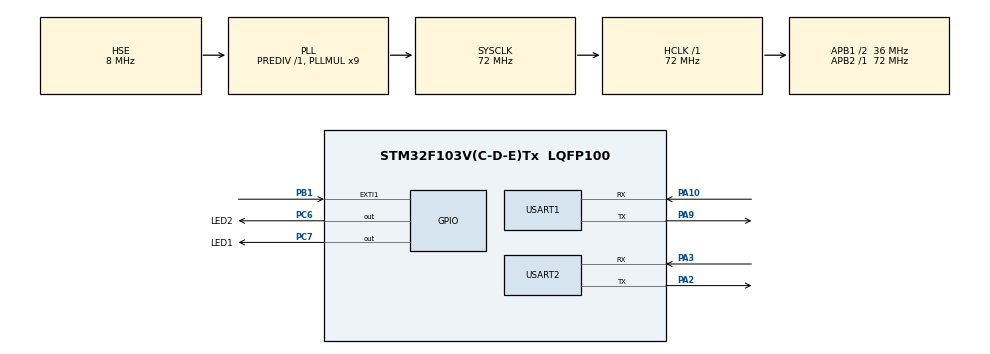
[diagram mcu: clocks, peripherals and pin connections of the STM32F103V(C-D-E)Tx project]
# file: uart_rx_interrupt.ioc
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Mcu.Family=STM32F1
Mcu.Name=STM32F103V(C-D-E)Tx
Mcu.Package=LQFP100
NVIC.EXTI1_IRQn=true\:15\:0\:true\:false\:true\:true
NVIC.PriorityGroup=NVIC_PRIORITYGROUP_4
NVIC.USART2_IRQn=true\:1\:0\:true\:false\:true\:true
OSC_IN.Mode=HSE-External-Oscillator
OSC_IN.Signal=RCC_OSC_IN
OSC_OUT.Mode=HSE-External-Oscillator
OSC_OUT.Signal=RCC_OSC_OUT
PA10.Mode=Asynchronous
PA10.Signal=USART1_RX
PA2.Mode=Asynchronous
PA2.Signal=USART2_TX
PA3.Mode=Asynchronous
PA3.Signal=USART2_RX
PA9.Mode=Asynchronous
PA9.Signal=USART1_TX
PB1.GPIO_ModeDefaultEXTI=GPIO_MODE_IT_RISING
PB1.GPIO_PuPd=GPIO_PULLDOWN
PB1.Signal=GPXTI1
PC6.GPIO_Label=LED2
PC6.Signal=GPIO_Output
PC7.GPIO_Label=LED1
PC7.Signal=GPIO_Output
ProjectManager.HeapSize=0x200
ProjectManager.StackSize=0x400
ProjectManager.TargetToolchain=MDK-ARM V5
RCC.AHBFreq_Value=72000000
RCC.APB1CLKDivider=RCC_HCLK_DIV2
RCC.APB1Freq_Value=36000000
RCC.APB1TimFreq_Value=72000000
RCC.APB2Freq_Value=72000000
RCC.APB2TimFreq_Value=72000000
RCC.HCLKFreq_Value=72000000
RCC.PLLMUL=RCC_PLL_MUL9
RCC.PLLSourceVirtual=RCC_PLLSOURCE_HSE
RCC.SYSCLKFreq_VALUE=72000000
RCC.SYSCLKSource=RCC_SYSCLKSOURCE_PLLCLK
RCC.USBFreq_Value=72000000
USART1.VirtualMode=VM_ASYNC
USART2.VirtualMode=VM_ASYNC
VP_SYS_VS_ND.Mode=No_Debug
board=custom

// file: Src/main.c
/**
  ******************************************************************************
  * @file           : main.c
  * @brief          : Main program body
  ******************************************************************************
  ** This notice applies to any and all portions of this file
  * that are not between comment pairs USER CODE BEGIN and
  * USER CODE END. Other portions of this file, whether
  * inserted by the user or by software development tools
  * are owned by their respective copyright owners.
  *
  * COPYRIGHT(c) 2018 STMicroelectronics
  *
  * Redistribution and use in source and binary forms, with or without modification,
  * are permitted provided that the following conditions are met:
  *   1. Redistributions of source code must retain the above copyright notice,
  *      this list of conditions and the following disclaimer.
  *   2. Redistributions in binary form must reproduce the above copyright notice,
  *      this list of conditions and the following disclaimer in the documentation
  *      and/or other materials provided with the distribution.
  *   3. Neither the name of STMicroelectronics nor the names of its contributors
  *      may be used to endorse or promote products derived from this software
  *      without specific prior written permission.
  *
  * THIS SOFTWARE IS PROVIDED BY THE COPYRIGHT HOLDERS AND CONTRIBUTORS "AS IS"
  * AND ANY EXPRESS OR IMPLIED WARRANTIES, INCLUDING, BUT NOT LIMITED TO, THE
  * IMPLIED WARRANTIES OF MERCHANTABILITY AND FITNESS FOR A PARTICULAR PURPOSE ARE
  * DISCLAIMED. IN NO EVENT SHALL THE COPYRIGHT HOLDER OR CONTRIBUTORS BE LIABLE
  * FOR ANY DIRECT, INDIRECT, INCIDENTAL, SPECIAL, EXEMPLARY, OR CONSEQUENTIAL
  * DAMAGES (INCLUDING, BUT NOT LIMITED TO, PROCUREMENT OF SUBSTITUTE GOODS OR
  * SERVICES; LOSS OF USE, DATA, OR PROFITS; OR BUSINESS INTERRUPTION) HOWEVER
  * CAUSED AND ON ANY THEORY OF LIABILITY, WHETHER IN CONTRACT, STRICT LIABILITY,
  * OR TORT (INCLUDING NEGLIGENCE OR OTHERWISE) ARISING IN ANY WAY OUT OF THE USE
  * OF THIS SOFTWARE, EVEN IF ADVISED OF THE POSSIBILITY OF SUCH DAMAGE.
  *
  ******************************************************************************
  */
#include "main.h"
#include "stm32f1xx_hal.h"
#include "usart.h"
#include "gpio.h"

/* USER CODE BEGIN PV */
/* Private variables ---------------------------------------------------------*/
unsigned char gButtonPressed;
unsigned int gRxCount;
unsigned char gRxBuffer[128];
/* USER CODE END PV */

void SystemClock_Config(void);

/* USER CODE BEGIN PFP */
/* Private function prototypes -----------------------------------------------*/

/* USER CODE END PFP */

int main(void)
{
  /* USER CODE BEGIN 1 */

	uint8_t txData[] = {'s','t','m','3','2','f','1'};
  /* USER CODE END 1 */

  /* MCU Configuration----------------------------------------------------------*/

  /* Reset of all peripherals, Initializes the Flash interface and the Systick. */
  HAL_Init();

  /* Configure the system clock */
  SystemClock_Config();

  /* Initialize all configured peripherals */
  MX_GPIO_Init();
  MX_USART1_UART_Init();
  MX_USART2_UART_Init();
  /* USER CODE BEGIN 2 */

	printf("\r\nProgram Start\r\n");
	LED1_CTRL(GPIO_TOGGLE);

	gButtonPressed = 0;

  /* USER CODE END 2 */

  /* Infinite loop */
  while (1)
  {

  /* USER CODE BEGIN 3 */

			if (gButtonPressed)
			{
				gButtonPressed = 0;

				printf("\r\nHAL_UART_Transmit\r\n");

				if (HAL_UART_Transmit_IT (&huart2, (uint8_t*)txData, sizeof(txData)) != HAL_OK)
				{
					printf("transmit error\r\n");
				}

				while (HAL_UART_GetState(&huart2) != HAL_UART_STATE_READY)
				{
					printf(".");
				}

#if 0
				if(HAL_UART_Receive_IT(&huart2, (uint8_t *)gRxBuffer, 1) == HAL_OK)
				{
					printf("rx=%c\r\n", gRxBuffer[0]);
				}

				while (HAL_UART_GetState(&huart2) != HAL_UART_STATE_READY)
				{
					printf(".");
				}
#endif
			}

			if (gRxCount > 0)
				printf("rxbuffer [%s][%d]\r\n", gRxBuffer, gRxCount);

			HAL_Delay(500);

  /* USER CODE END 2 */
  }
  /* USER CODE END 3 */

}

void SystemClock_Config(void)
{

  RCC_OscInitTypeDef RCC_OscInitStruct;
  RCC_ClkInitTypeDef RCC_ClkInitStruct;

    /**Initializes the CPU, AHB and APB busses clocks
    */
  RCC_OscInitStruct.OscillatorType = RCC_OSCILLATORTYPE_HSE;
  RCC_OscInitStruct.HSEState = RCC_HSE_ON;
  RCC_OscInitStruct.HSEPredivValue = RCC_HSE_PREDIV_DIV1;
  RCC_OscInitStruct.HSIState = RCC_HSI_ON;
  RCC_OscInitStruct.PLL.PLLState = RCC_PLL_ON;
  RCC_OscInitStruct.PLL.PLLSource = RCC_PLLSOURCE_HSE;
  RCC_OscInitStruct.PLL.PLLMUL = RCC_PLL_MUL9;
  if (HAL_RCC_OscConfig(&RCC_OscInitStruct) != HAL_OK)
  {
    _Error_Handler(__FILE__, __LINE__);
  }

    /**Initializes the CPU, AHB and APB busses clocks
    */
  RCC_ClkInitStruct.ClockType = RCC_CLOCKTYPE_HCLK|RCC_CLOCKTYPE_SYSCLK
                              |RCC_CLOCKTYPE_PCLK1|RCC_CLOCKTYPE_PCLK2;
  RCC_ClkInitStruct.SYSCLKSource = RCC_SYSCLKSOURCE_PLLCLK;
  RCC_ClkInitStruct.AHBCLKDivider = RCC_SYSCLK_DIV1;
  RCC_ClkInitStruct.APB1CLKDivider = RCC_HCLK_DIV2;
  RCC_ClkInitStruct.APB2CLKDivider = RCC_HCLK_DIV1;

  if (HAL_RCC_ClockConfig(&RCC_ClkInitStruct, FLASH_LATENCY_2) != HAL_OK)
  {
    _Error_Handler(__FILE__, __LINE__);
  }

    /**Configure the Systick interrupt time
    */
  HAL_SYSTICK_Config(HAL_RCC_GetHCLKFreq()/1000);

    /**Configure the Systick
    */
  HAL_SYSTICK_CLKSourceConfig(SYSTICK_CLKSOURCE_HCLK);

  /* SysTick_IRQn interrupt configuration */
  HAL_NVIC_SetPriority(SysTick_IRQn, 0, 0);
}

void _Error_Handler(char *file, int line)
{
  while(1)
  {
  }
}

/************************ (C) COPYRIGHT STMicroelectronics *****END OF FILE****/
